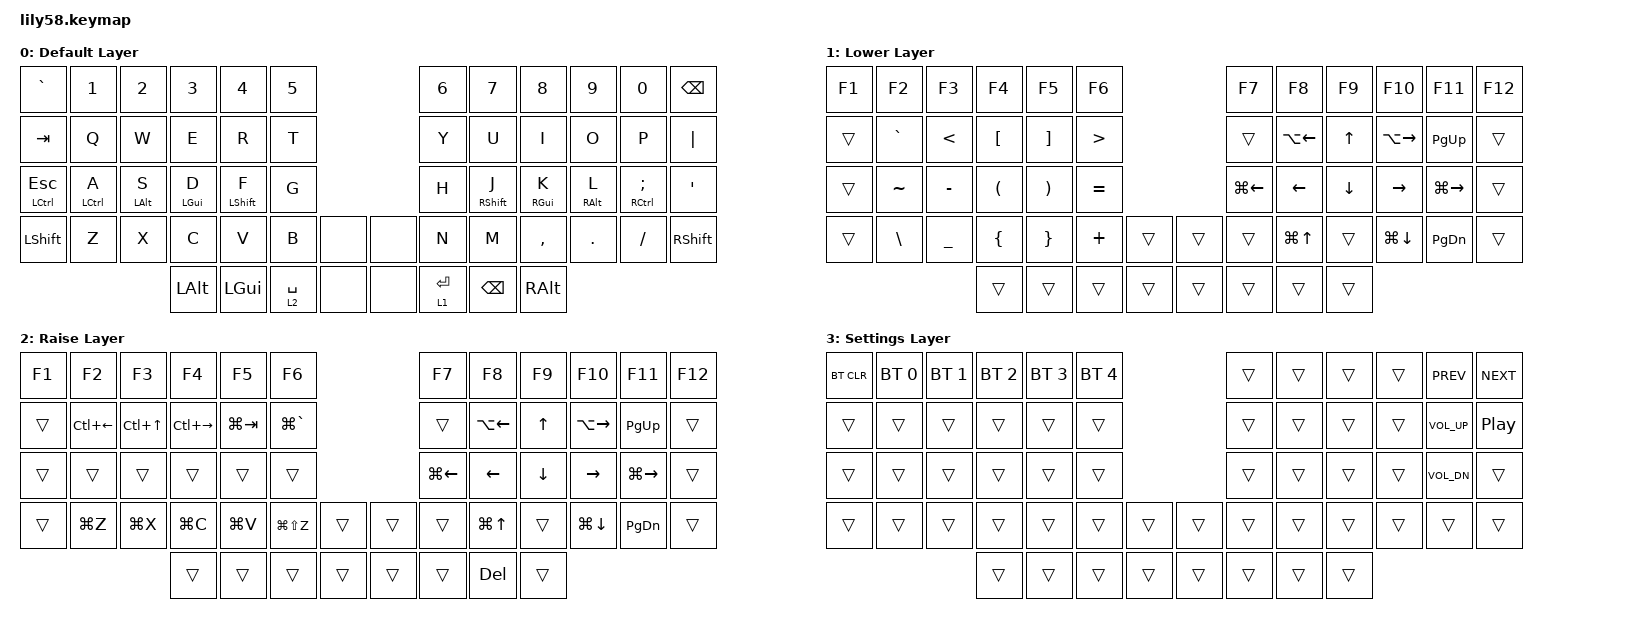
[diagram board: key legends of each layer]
/*
 * Copyright (c) 2020 The ZMK Contributors
 *
 * SPDX-License-Identifier: MIT
 */

#include <behaviors.dtsi>
#include <dt-bindings/zmk/bt.h>
#include <dt-bindings/zmk/keys.h>

/*
 * -------------------------------------------------------------------------
 *  MODYFIKATORY (macOS, CAGS)
 *    home row lewa   A S D F  =  Ctrl  Option  Cmd   Shift
 *    home row prawa  J K L ;  =  Shift Cmd     Option Ctrl
 *
 *  Cmd i Option zostaja RUWNIEZ na kciukach - celowo. Kciuki nie podlegaja
 *  positional hold-tap, wiec Cmd+C / Cmd+V / Cmd+Z lewa reka dzialaja
 *  tylko przez kciukowy Cmd. Nie usuwaj ich.
 *
 *  RECE A WARSTWY
 *    LOWER (warstwa 1) trzyma PRAWY kciuk  -> symbole na LEWEJ rece
 *    RAISE (warstwa 2) trzyma LEWY  kciuk  -> kursory na PRAWEJ rece
 *
 *  Pozycje klawiszy (indeksy w tablicy bindings):
 *    rzad 0:  L 0-5     R 6-11
 *    rzad 1:  L 12-17   R 18-23
 *    rzad 2:  L 24-29   R 30-35
 *    rzad 3:  L 36-41   (42-43 puste)  R 44-49
 *    kciuki:  L 50-52   (53-54 puste)  R 55-57
 * -------------------------------------------------------------------------
 */

#define LEFT_HAND   0  1  2  3  4  5 12 13 14 15 16 17 24 25 26 27 28 29 36 37 38 39 40 41
#define RIGHT_HAND  6  7  8  9 10 11 18 19 20 21 22 23 30 31 32 33 34 35 44 45 46 47 48 49
#define THUMBS     50 51 52 55 56 57

/ {
    behaviors {
        /* Layer-tap dla kciukow: Space / Enter.
         * require-prior-idle-ms jest tu najwazniejszy - jesli wlasnie pisales,
         * klawisz jest traktowany jako tap, nie jako warstwa.
         */
        lt_bal: balanced_layer_tap {
            compatible = "zmk,behavior-hold-tap";
            #binding-cells = <2>;
            flavor = "balanced";
            tapping-term-ms = <200>;
            quick-tap-ms = <175>;
            require-prior-idle-ms = <150>;
            bindings = <&mo>, <&kp>;
        };

        /* Mod-tap bez ograniczen pozycyjnych - dla Esc/Ctrl na pinky. */
        mt_bal: balanced_mod_tap {
            compatible = "zmk,behavior-hold-tap";
            #binding-cells = <2>;
            flavor = "balanced";
            tapping-term-ms = <200>;
            quick-tap-ms = <175>;
            require-prior-idle-ms = <150>;
            bindings = <&kp>, <&kp>;
        };

        /* Home row mod - LEWA reka. Hold wyzwoli sie tylko gdy nastepny
         * klawisz jest na PRAWEJ rece albo na kciuku.
         */
        hml: home_row_mod_left {
            compatible = "zmk,behavior-hold-tap";
            #binding-cells = <2>;
            flavor = "balanced";
            tapping-term-ms = <200>;
            quick-tap-ms = <175>;
            require-prior-idle-ms = <150>;
            hold-trigger-key-positions = <RIGHT_HAND THUMBS>;
            hold-trigger-on-release;
            bindings = <&kp>, <&kp>;
        };

        /* Home row mod - PRAWA reka. */
        hmr: home_row_mod_right {
            compatible = "zmk,behavior-hold-tap";
            #binding-cells = <2>;
            flavor = "balanced";
            tapping-term-ms = <200>;
            quick-tap-ms = <175>;
            require-prior-idle-ms = <150>;
            hold-trigger-key-positions = <LEFT_HAND THUMBS>;
            hold-trigger-on-release;
            bindings = <&kp>, <&kp>;
        };
    };

    conditional_layers {
        compatible = "zmk,conditional-layers";

        tri_layer {
            if-layers = <1 2>;
            then-layer = <3>;
        };
    };

    keymap {
        compatible = "zmk,keymap";

        default_layer {
            display-name = "Default Layer";
            bindings = <
&kp GRAVE             &kp N1        &kp N2       &kp N3       &kp N4        &kp N5                              &kp N6           &kp N7        &kp N8       &kp N9       &kp N0           &kp BACKSPACE
&kp TAB               &kp Q         &kp W        &kp E        &kp R         &kp T                               &kp Y            &kp U         &kp I        &kp O        &kp P            &kp PIPE
&mt_bal LCTRL ESCAPE  &hml LCTRL A  &hml LALT S  &hml LGUI D  &hml LSHFT F  &kp G                               &kp H            &hmr RSHFT J  &hmr RGUI K  &hmr RALT L  &hmr RCTRL SEMI  &kp SQT
&kp LSHIFT            &kp Z         &kp X        &kp C        &kp V         &kp B            &none    &none     &kp N            &kp M         &kp COMMA    &kp DOT      &kp FSLH         &kp RSHFT
                                                 &kp LALT     &kp LGUI      &lt_bal 2 SPACE  &none    &none     &lt_bal 1 ENTER  &kp BSPC      &kp RIGHT_ALT
            >;
        };

        /* ------------------------------------------------------------------
         * LOWER - warstwa symboli. Trzymana PRAWYM kciukiem (Enter),
         * wiec caly zestaw symboli siedzi na LEWEJ, wolnej rece.
         *
         *   Q W E R T  ->   `   <   [   ]   >
         *   A S D F G  ->   ~   -   (   )   =
         *   Z X C V B  ->   \   _   {   }   +
         *
         * Nawiasy stoja pionowo pod srodkowym i wskazujacym: [] / () / {}.
         * Kolumna 2 i 5 sa lustrzane: -/= na home row, _/+ pod spodem
         * (czyli shiftowane wersje dokladnie pod oryginalami).
         * PRAWA reka dubluje nawigacje z RAISE - identyczne bindingi, zeby
         * kursory byly dostepne niezaleznie od tego, ktory kciuk trzymasz.
         * Symboli (! @ # $ % ^ & * : " ?) tu nie ma celowo - to i tak
         * Shift+cos z warstwy bazowej, zero nowej funkcjonalnosci.
         *
         * Uwaga ergonomia: LOWER trzyma PRAWY kciuk, wiec nawigacja prawa reka
         * jest tu obsluga jedna reka (kciuk trzyma, palce jada). Wygodniejsza
         * wersja jest na RAISE, gdzie trzyma lewy kciuk i prawa reka jest wolna.
         *
         * Mody: nadpisanie prawego home row zabiera stamtad Shift/Cmd/Option/
         * Ctrl, ale wszystkie zostaja dostepne po LEWEJ przez &trans:
         *   Ctrl  - lewy pinky, home row  (-> mt_bal LCTRL ESCAPE)
         *   Shift - lewy pinky, rzad 3    (-> kp LSHIFT)
         *   Cmd   - lewy kciuk            (-> kp LGUI)
         *   Option- lewy kciuk            (-> kp LALT)
         * Dzieki temu Cmd+[ , Cmd+= , Ctrl+~ itd. nadal dzialaja.
         *
         * Rzad 0 zostaje na F1-F12. Prawy kciuk zostaje &trans (BSPC z bazy) -
         * DELETE z RAISE tu nie kopiujemy.
         * ------------------------------------------------------------------ */
        lower_layer {
            display-name = "Lower Layer";
            bindings = <
&kp F1  &kp F2         &kp F3            &kp F4                &kp F5                 &kp F6                              &kp F7        &kp F8         &kp F9        &kp F10          &kp F11        &kp F12
&trans  &kp GRAVE      &kp LESS_THAN     &kp LEFT_BRACKET      &kp RIGHT_BRACKET      &kp GREATER_THAN                    &trans        &kp LA(LEFT)   &kp UP_ARROW  &kp LA(RIGHT)    &kp PAGE_UP    &trans
&trans  &kp TILDE      &kp MINUS         &kp LEFT_PARENTHESIS  &kp RIGHT_PARENTHESIS  &kp EQUAL                           &kp LG(LEFT)  &kp LEFT       &kp DOWN      &kp RIGHT        &kp LG(RIGHT)  &trans
&trans  &kp BACKSLASH  &kp UNDERSCORE    &kp LEFT_BRACE        &kp RIGHT_BRACE        &kp PLUS          &trans    &trans  &trans        &kp LG(UP)     &trans        &kp LG(DOWN)     &kp PAGE_DOWN  &trans
                                         &trans                &trans                 &trans            &trans    &trans  &trans        &trans         &trans
            >;
        };

        /* ------------------------------------------------------------------
         * RAISE - warstwa nawigacji. Trzymana LEWYM kciukiem (Space),
         * wiec kursory siedza na PRAWEJ, wolnej rece.
         *
         * Klasyczne odwrocone T (nie vimowe hjkl):
         *              I = gora
         *      J = lewo  K = dol  L = prawo
         *
         * Uklad kolumnowy (orto - kazda kolumna ma jeden sens):
         *   I / K       :  GORA / DOL
         *   U / J / M   :  slowo w lewo / znak w lewo / poczatek dokumentu
         *   O / L / .   :  slowo w prawo / znak w prawo / koniec dokumentu
         *   H  i  ;     :  poczatek / koniec linii (Cmd+strzalka), obok J i L
         *   P  i  /     :  PgUp / PgDn (kolumna pinky = duze skoki)
         *
         * Rzad 0 = F1-F12, identycznie jak na LOWER.
         *
         * Uwaga macOS: Home/End w wiekszosci aplikacji tylko przewijaja widok
         * i NIE ruszaja kursora - dlatego linie obsluguje Cmd+strzalka.
         *
         * LEWA reka home row zostaje &trans - dzieki temu dzialaja tu mody,
         * czyli Shift+strzalki (zaznaczanie), Cmd+Shift+strzalki itd.
         *   Q W E R T  -> pulpity / Mission Control / przelaczanie aplikacji
         *   Z X C V B  -> cofnij / wytnij / kopiuj / wklej / ponow
         * ------------------------------------------------------------------ */
        raise_layer {
            display-name = "Raise Layer";
            bindings = <
&kp F1  &kp F2          &kp F3          &kp F4          &kp F5           &kp F6                              &kp F7           &kp F8          &kp F9          &kp F10          &kp F11        &kp F12
&trans  &kp LC(LEFT)    &kp LC(UP)      &kp LC(RIGHT)   &kp LG(TAB)      &kp LG(GRAVE)                       &trans           &kp LA(LEFT)    &kp UP_ARROW    &kp LA(RIGHT)    &kp PAGE_UP    &trans
&trans  &trans          &trans          &trans          &trans           &trans                              &kp LG(LEFT)     &kp LEFT        &kp DOWN        &kp RIGHT        &kp LG(RIGHT)  &trans
&trans  &kp LG(Z)       &kp LG(X)       &kp LG(C)       &kp LG(V)        &kp LG(LS(Z))    &trans    &trans    &trans           &kp LG(UP)      &trans          &kp LG(DOWN)     &kp PAGE_DOWN  &trans
                                        &trans          &trans           &trans           &trans    &trans    &trans           &kp DELETE      &trans
            >;
        };

        settings_layer {
            display-name = "Settings Layer";
            bindings = <
&bt BT_CLR  &bt BT_SEL 0  &bt BT_SEL 1  &bt BT_SEL 2  &bt BT_SEL 3  &bt BT_SEL 4                    &trans  &trans  &trans  &trans  &kp C_PREV    &kp C_NEXT
&trans      &trans        &trans        &trans        &trans        &trans                          &trans  &trans  &trans  &trans  &kp K_VOL_UP  &kp C_PP
&trans      &trans        &trans        &trans        &trans        &trans                          &trans  &trans  &trans  &trans  &kp K_VOL_DN  &trans
&trans      &trans        &trans        &trans        &trans        &trans        &trans    &trans  &trans  &trans  &trans  &trans  &trans        &trans
                                        &trans        &trans        &trans        &trans    &trans  &trans  &trans  &trans
            >;
        };
    };
};
